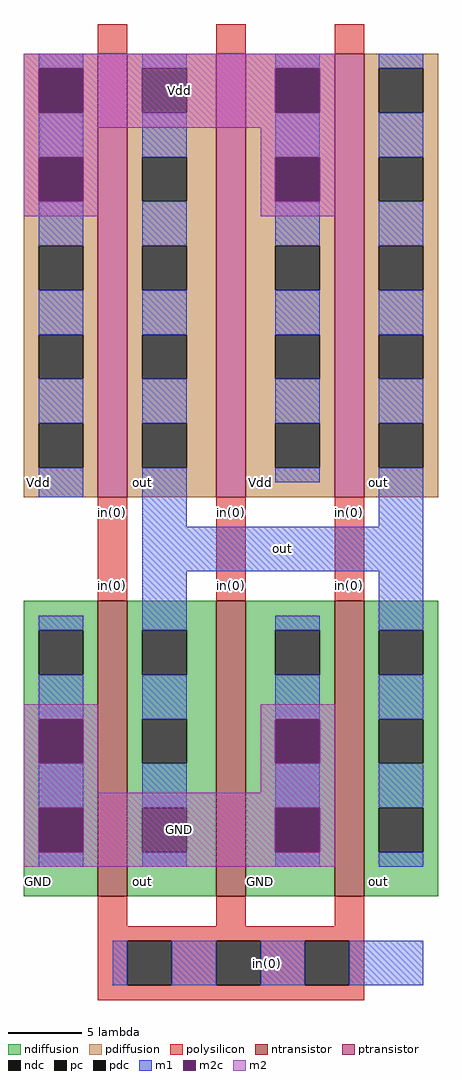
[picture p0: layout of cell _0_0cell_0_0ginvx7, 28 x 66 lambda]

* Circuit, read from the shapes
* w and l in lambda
.subckt _0_0cell_0_0ginvx7 in(0) out
M1 out in(0) GND VSUBS nfet w=20 l=2 m=3
M2 out in(0) Vdd NWELL pfet w=30 l=2 m=3
.ends

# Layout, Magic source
magic
tech sky130l
<< ndiffusion >>
rect 8 29 13 31
rect 8 26 9 29
rect 12 26 13 29
rect 8 23 13 26
rect 8 20 9 23
rect 12 20 13 23
rect 8 17 13 20
rect 8 14 9 17
rect 12 14 13 17
rect 8 11 13 14
rect 15 29 21 31
rect 15 26 16 29
rect 19 26 21 29
rect 15 23 21 26
rect 15 20 16 23
rect 19 20 21 23
rect 15 17 21 20
rect 15 14 16 17
rect 19 14 21 17
rect 15 11 21 14
rect 23 29 29 31
rect 23 26 25 29
rect 28 26 29 29
rect 23 23 29 26
rect 23 20 25 23
rect 28 20 29 23
rect 23 17 29 20
rect 23 14 25 17
rect 28 14 29 17
rect 23 11 29 14
rect 31 29 36 31
rect 31 26 32 29
rect 35 26 36 29
rect 31 23 36 26
rect 31 20 32 23
rect 35 20 36 23
rect 31 17 36 20
rect 31 14 32 17
rect 35 14 36 17
rect 31 11 36 14
<< ndc >>
rect 9 26 12 29
rect 9 20 12 23
rect 9 14 12 17
rect 16 26 19 29
rect 16 20 19 23
rect 16 14 19 17
rect 25 26 28 29
rect 25 20 28 23
rect 25 14 28 17
rect 32 26 35 29
rect 32 20 35 23
rect 32 14 35 17
<< ntransistor >>
rect 13 11 15 31
rect 21 11 23 31
rect 29 11 31 31
<< pdiffusion >>
rect 8 67 13 68
rect 8 64 9 67
rect 12 64 13 67
rect 8 61 13 64
rect 8 58 9 61
rect 12 58 13 61
rect 8 55 13 58
rect 8 52 9 55
rect 12 52 13 55
rect 8 49 13 52
rect 8 46 9 49
rect 12 46 13 49
rect 8 43 13 46
rect 8 40 9 43
rect 12 40 13 43
rect 8 38 13 40
rect 15 67 21 68
rect 15 64 16 67
rect 19 64 21 67
rect 15 61 21 64
rect 15 58 16 61
rect 19 58 21 61
rect 15 55 21 58
rect 15 52 16 55
rect 19 52 21 55
rect 15 49 21 52
rect 15 46 16 49
rect 19 46 21 49
rect 15 43 21 46
rect 15 40 16 43
rect 19 40 21 43
rect 15 38 21 40
rect 23 67 29 68
rect 23 64 25 67
rect 28 64 29 67
rect 23 61 29 64
rect 23 58 25 61
rect 28 58 29 61
rect 23 55 29 58
rect 23 52 25 55
rect 28 52 29 55
rect 23 49 29 52
rect 23 46 25 49
rect 28 46 29 49
rect 23 43 29 46
rect 23 40 25 43
rect 28 40 29 43
rect 23 38 29 40
rect 31 67 36 68
rect 31 64 32 67
rect 35 64 36 67
rect 31 61 36 64
rect 31 58 32 61
rect 35 58 36 61
rect 31 55 36 58
rect 31 52 32 55
rect 35 52 36 55
rect 31 49 36 52
rect 31 46 32 49
rect 35 46 36 49
rect 31 43 36 46
rect 31 40 32 43
rect 35 40 36 43
rect 31 38 36 40
<< pdc >>
rect 9 64 12 67
rect 9 58 12 61
rect 9 52 12 55
rect 9 46 12 49
rect 9 40 12 43
rect 16 64 19 67
rect 16 58 19 61
rect 16 52 19 55
rect 16 46 19 49
rect 16 40 19 43
rect 25 64 28 67
rect 25 58 28 61
rect 25 52 28 55
rect 25 46 28 49
rect 25 40 28 43
rect 32 64 35 67
rect 32 58 35 61
rect 32 52 35 55
rect 32 46 35 49
rect 32 40 35 43
<< ptransistor >>
rect 13 38 15 68
rect 21 38 23 68
rect 29 38 31 68
<< polysilicon >>
rect 13 68 15 70
rect 21 68 23 70
rect 29 68 31 70
rect 13 31 15 38
rect 21 31 23 38
rect 29 31 31 38
rect 13 9 15 11
rect 21 9 23 11
rect 29 9 31 11
rect 13 8 31 9
rect 13 5 15 8
rect 18 5 21 8
rect 24 5 27 8
rect 30 5 31 8
rect 13 4 31 5
<< pc >>
rect 15 5 18 8
rect 21 5 24 8
rect 27 5 30 8
<< m1 >>
rect 9 67 12 68
rect 9 61 12 64
rect 9 55 12 58
rect 9 49 12 52
rect 9 43 12 46
rect 9 38 12 40
rect 16 67 19 68
rect 16 61 19 64
rect 16 55 19 58
rect 16 49 19 52
rect 16 43 19 46
rect 16 36 19 40
rect 25 67 28 68
rect 25 61 28 64
rect 25 55 28 58
rect 25 49 28 52
rect 25 43 28 46
rect 25 39 28 40
rect 32 67 35 68
rect 32 61 35 64
rect 32 55 35 58
rect 32 49 35 52
rect 32 43 35 46
rect 32 36 35 40
rect 16 33 35 36
rect 9 29 12 30
rect 9 23 12 26
rect 9 17 12 20
rect 9 13 12 14
rect 16 29 19 33
rect 16 23 19 26
rect 16 17 19 20
rect 16 13 19 14
rect 25 29 28 30
rect 25 23 28 26
rect 25 17 28 20
rect 25 13 28 14
rect 32 29 35 33
rect 32 23 35 26
rect 32 17 35 20
rect 32 13 35 14
rect 14 5 15 8
rect 18 5 21 8
rect 24 5 27 8
rect 30 5 35 8
<< m2c >>
rect 9 64 12 67
rect 9 58 12 61
rect 25 64 28 67
rect 25 58 28 61
rect 9 20 12 23
rect 9 14 12 17
rect 25 20 28 23
rect 25 14 28 17
<< m2 >>
rect 8 67 29 68
rect 8 64 9 67
rect 12 64 25 67
rect 28 64 29 67
rect 8 63 29 64
rect 8 61 13 63
rect 8 58 9 61
rect 12 58 13 61
rect 8 57 13 58
rect 24 61 29 63
rect 24 58 25 61
rect 28 58 29 61
rect 24 57 29 58
rect 8 23 13 24
rect 8 20 9 23
rect 12 20 13 23
rect 8 18 13 20
rect 24 23 29 24
rect 24 20 25 23
rect 28 20 29 23
rect 24 18 29 20
rect 8 17 29 18
rect 8 14 9 17
rect 12 14 25 17
rect 28 14 29 17
rect 8 13 29 14
<< labels >>
rlabel pdiffusion 32 39 32 39 3 out
rlabel polysilicon 30 37 30 37 3 in(0)
rlabel pdiffusion 24 39 24 39 3 Vdd
rlabel polysilicon 22 37 22 37 3 in(0)
rlabel pdiffusion 16 39 16 39 3 out
rlabel polysilicon 14 37 14 37 3 in(0)
rlabel pdiffusion 9 39 9 39 3 Vdd
rlabel ndiffusion 32 12 32 12 3 out
rlabel polysilicon 30 32 30 32 3 in(0)
rlabel ndiffusion 24 12 24 12 3 GND
rlabel polysilicon 22 32 22 32 3 in(0)
rlabel ndiffusion 16 12 16 12 3 out
rlabel polysilicon 14 32 14 32 3 in(0)
rlabel ndiffusion 9 12 9 12 3 GND
flabel m2 8 63 29 68 0 FreeSans 11 0 0 0 Vdd
flabel m2 8 13 29 18 0 FreeSans 11 0 0 0 GND
flabel m1 14 5 35 8 0 FreeSans 11 0 0 0 in(0)
port 3 nsew
flabel m1 16 33 35 36 0 FreeSans 11 0 0 0 out
port 4 nsew
<< end >>
